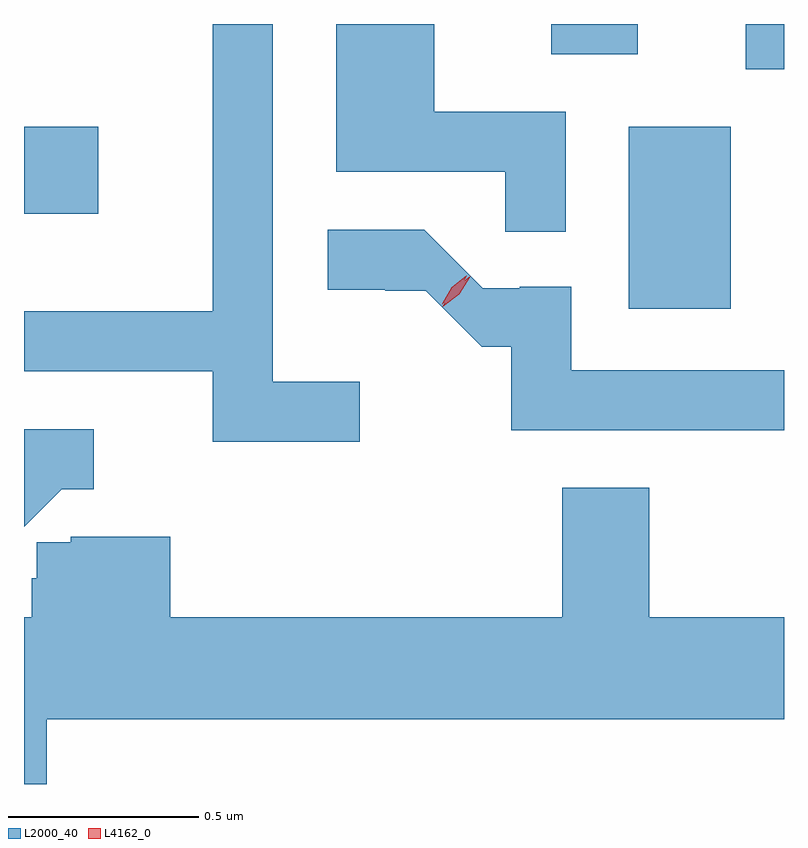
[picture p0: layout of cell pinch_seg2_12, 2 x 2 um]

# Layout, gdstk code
import gdstk
lib = gdstk.Library(unit=1e-6, precision=1e-09)
def R(c, l, rs):  # rectangles x0, y0, x1, y1
    for r in rs: c.add(gdstk.rectangle(r[:2], r[2:], *l))
def P(c, l, *ps):  # polygons
    for p in ps: c.add(gdstk.Polygon(p, *l))
L2000_40 = (2000, 40)
L4162_0 = (4162, 0)

pinch_seg2_12 = lib.new_cell('pinch_seg2_12')
R(pinch_seg2_12, L2000_40, [(1730.816,1093.796,1731.084,1094.274), (1729.224,1094.046,1729.419,1094.274), (1731.123,1094.426,1731.224,1094.545), (1730.611,1094.466,1730.839,1094.545)])
P(pinch_seg2_12, L2000_40, [(1730.649,1094.314),(1730.304,1094.314),(1730.304,1094.545),(1730.046,1094.545),(1730.046,1094.156),(1730.491,1094.156),(1730.491,1093.998),(1730.649,1093.998)],
  [(1730.108,1093.604),(1729.879,1093.604),(1729.879,1094.545),(1729.721,1094.545),(1729.721,1093.789),(1729.224,1093.789),(1729.224,1093.631),(1729.721,1093.631),(1729.721,1093.446),(1730.108,1093.446)],
  [(1731.224,1093.634),(1730.664,1093.634),(1730.664,1093.854),(1730.529,1093.854),(1730.529,1093.85),(1730.431,1093.85),(1730.277,1094.004),(1730.023,1094.004),(1730.023,1093.846),(1730.175,1093.846),(1730.175,1093.843),(1730.281,1093.843),(1730.428,1093.696),(1730.506,1093.696),(1730.506,1093.476),(1731.224,1093.476)],
  [(1729.323,1093.321),(1729.408,1093.321),(1729.408,1093.479),(1729.224,1093.479),(1729.224,1093.222)],
  [(1729.284,1092.716),(1731.224,1092.716),(1731.224,1092.984),(1730.869,1092.984),(1730.869,1093.324),(1730.641,1093.324),(1730.641,1092.984),(1729.609,1092.984),(1729.609,1093.196),(1729.347,1093.196),(1729.347,1093.181),(1729.257,1093.181),(1729.257,1093.087),(1729.244,1093.087),(1729.244,1092.984),(1729.224,1092.984),(1729.224,1092.545),(1729.284,1092.545)])
P(pinch_seg2_12, L4162_0, [(1730.326,1093.801),(1730.326,1093.802),(1730.355,1093.848),(1730.398,1093.881),(1730.398,1093.881),(1730.398,1093.88),(1730.369,1093.834),(1730.326,1093.801)],
  [(1730.324,1093.808),(1730.324,1093.809),(1730.349,1093.852),(1730.388,1093.883),(1730.389,1093.883),(1730.389,1093.883),(1730.364,1093.839),(1730.325,1093.808)])

lib.write_gds('pinch_seg2_12.gds')
